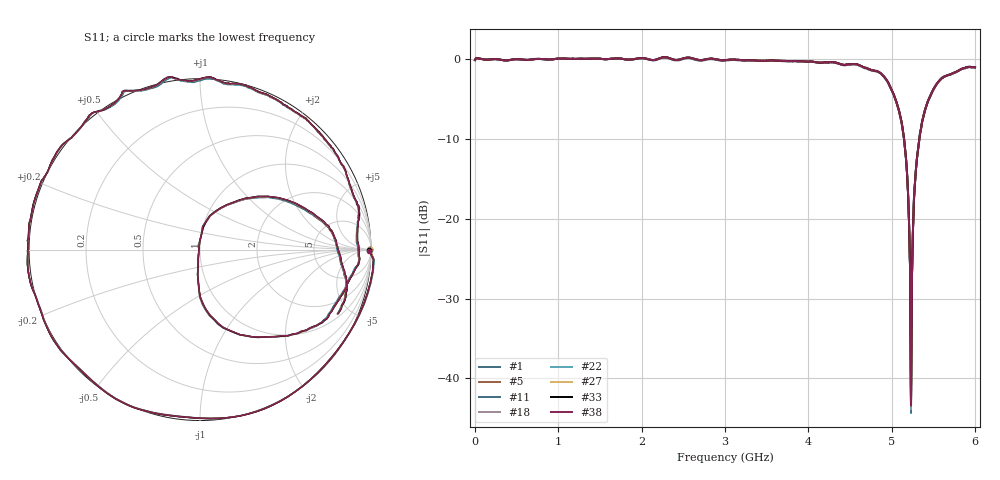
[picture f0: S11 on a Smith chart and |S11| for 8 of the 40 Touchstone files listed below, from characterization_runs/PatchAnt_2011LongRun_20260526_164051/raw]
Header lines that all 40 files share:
# Hz S RI R 50
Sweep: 1 MHz to 6 GHz
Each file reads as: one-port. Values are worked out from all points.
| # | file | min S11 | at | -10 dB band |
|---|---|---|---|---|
| 1 | 0001_20260526T164102Z_PatchAnt_2011LongRun.s1p | -44.3 dB | 5.232 GHz | 183.6 MHz wide |
| 2 | 0002_20260526T171102Z_PatchAnt_2011LongRun.s1p | -43.9 dB | 5.232 GHz | 183.2 MHz wide |
| 3 | 0003_20260526T174102Z_PatchAnt_2011LongRun.s1p | -43.5 dB | 5.232 GHz | 183.1 MHz wide |
| 4 | 0004_20260526T181102Z_PatchAnt_2011LongRun.s1p | -43.0 dB | 5.232 GHz | 183.4 MHz wide |
| 5 | 0005_20260526T184102Z_PatchAnt_2011LongRun.s1p | -43.1 dB | 5.232 GHz | 183.2 MHz wide |
| 6 | 0006_20260526T191102Z_PatchAnt_2011LongRun.s1p | -43.0 dB | 5.232 GHz | 183.4 MHz wide |
| 7 | 0007_20260526T194102Z_PatchAnt_2011LongRun.s1p | -43.5 dB | 5.232 GHz | 183.4 MHz wide |
| 8 | 0008_20260526T201102Z_PatchAnt_2011LongRun.s1p | -43.1 dB | 5.232 GHz | 182.9 MHz wide |
| 9 | 0009_20260526T204102Z_PatchAnt_2011LongRun.s1p | -43.6 dB | 5.232 GHz | 183.2 MHz wide |
| 10 | 0010_20260526T211102Z_PatchAnt_2011LongRun.s1p | -43.3 dB | 5.232 GHz | 183.1 MHz wide |
| 11 | 0011_20260526T214102Z_PatchAnt_2011LongRun.s1p | -43.6 dB | 5.232 GHz | 183.1 MHz wide |
| 12 | 0012_20260526T221102Z_PatchAnt_2011LongRun.s1p | -43.7 dB | 5.232 GHz | 182.9 MHz wide |
| 13 | 0013_20260526T224102Z_PatchAnt_2011LongRun.s1p | -44.0 dB | 5.232 GHz | 182.9 MHz wide |
| 14 | 0014_20260526T231102Z_PatchAnt_2011LongRun.s1p | -43.8 dB | 5.232 GHz | 183 MHz wide |
| 15 | 0015_20260526T234102Z_PatchAnt_2011LongRun.s1p | -43.7 dB | 5.232 GHz | 182.9 MHz wide |
| 16 | 0016_20260527T001102Z_PatchAnt_2011LongRun.s1p | -43.9 dB | 5.232 GHz | 183 MHz wide |
| 17 | 0017_20260527T004102Z_PatchAnt_2011LongRun.s1p | -43.8 dB | 5.232 GHz | 183 MHz wide |
| 18 | 0018_20260527T011102Z_PatchAnt_2011LongRun.s1p | -43.9 dB | 5.232 GHz | 182.7 MHz wide |
| 19 | 0019_20260527T014102Z_PatchAnt_2011LongRun.s1p | -44.4 dB | 5.232 GHz | 182.8 MHz wide |
| 20 | 0020_20260527T021102Z_PatchAnt_2011LongRun.s1p | -43.6 dB | 5.232 GHz | 182.8 MHz wide |
| 21 | 0021_20260527T024102Z_PatchAnt_2011LongRun.s1p | -44.1 dB | 5.232 GHz | 183 MHz wide |
| 22 | 0022_20260527T031102Z_PatchAnt_2011LongRun.s1p | -43.8 dB | 5.232 GHz | 182.6 MHz wide |
| 23 | 0023_20260527T034102Z_PatchAnt_2011LongRun.s1p | -43.1 dB | 5.232 GHz | 182.6 MHz wide |
| 24 | 0024_20260527T041102Z_PatchAnt_2011LongRun.s1p | -43.3 dB | 5.232 GHz | 182.8 MHz wide |
| 25 | 0025_20260527T044102Z_PatchAnt_2011LongRun.s1p | -43.8 dB | 5.232 GHz | 182.8 MHz wide |
| 26 | 0026_20260527T051102Z_PatchAnt_2011LongRun.s1p | -43.6 dB | 5.232 GHz | 182.4 MHz wide |
| 27 | 0027_20260527T054102Z_PatchAnt_2011LongRun.s1p | -43.5 dB | 5.232 GHz | 183 MHz wide |
| 28 | 0028_20260527T061102Z_PatchAnt_2011LongRun.s1p | -43.6 dB | 5.232 GHz | 182.7 MHz wide |
| 29 | 0029_20260527T064102Z_PatchAnt_2011LongRun.s1p | -43.3 dB | 5.232 GHz | 182.7 MHz wide |
| 30 | 0030_20260527T071102Z_PatchAnt_2011LongRun.s1p | -43.8 dB | 5.232 GHz | 182.6 MHz wide |
| 31 | 0031_20260527T074102Z_PatchAnt_2011LongRun.s1p | -43.4 dB | 5.232 GHz | 182.6 MHz wide |
| 32 | 0032_20260527T081102Z_PatchAnt_2011LongRun.s1p | -43.5 dB | 5.232 GHz | 182.7 MHz wide |
| 33 | 0033_20260527T084102Z_PatchAnt_2011LongRun.s1p | -43.2 dB | 5.232 GHz | 182.5 MHz wide |
| 34 | 0034_20260527T091102Z_PatchAnt_2011LongRun.s1p | -43.4 dB | 5.232 GHz | 182.9 MHz wide |
| 35 | 0035_20260527T094102Z_PatchAnt_2011LongRun.s1p | -44.2 dB | 5.232 GHz | 182.7 MHz wide |
| 36 | 0036_20260527T101102Z_PatchAnt_2011LongRun.s1p | -44.0 dB | 5.232 GHz | 182.8 MHz wide |
| 37 | 0037_20260527T104102Z_PatchAnt_2011LongRun.s1p | -43.6 dB | 5.232 GHz | 182.5 MHz wide |
| 38 | 0038_20260527T111102Z_PatchAnt_2011LongRun.s1p | -43.4 dB | 5.232 GHz | 183 MHz wide |
| 39 | 0039_20260527T114102Z_PatchAnt_2011LongRun.s1p | -43.5 dB | 5.232 GHz | 182.7 MHz wide |
| 40 | 0040_20260527T121102Z_PatchAnt_2011LongRun.s1p | -43.1 dB | 5.232 GHz | 182.6 MHz wide |
